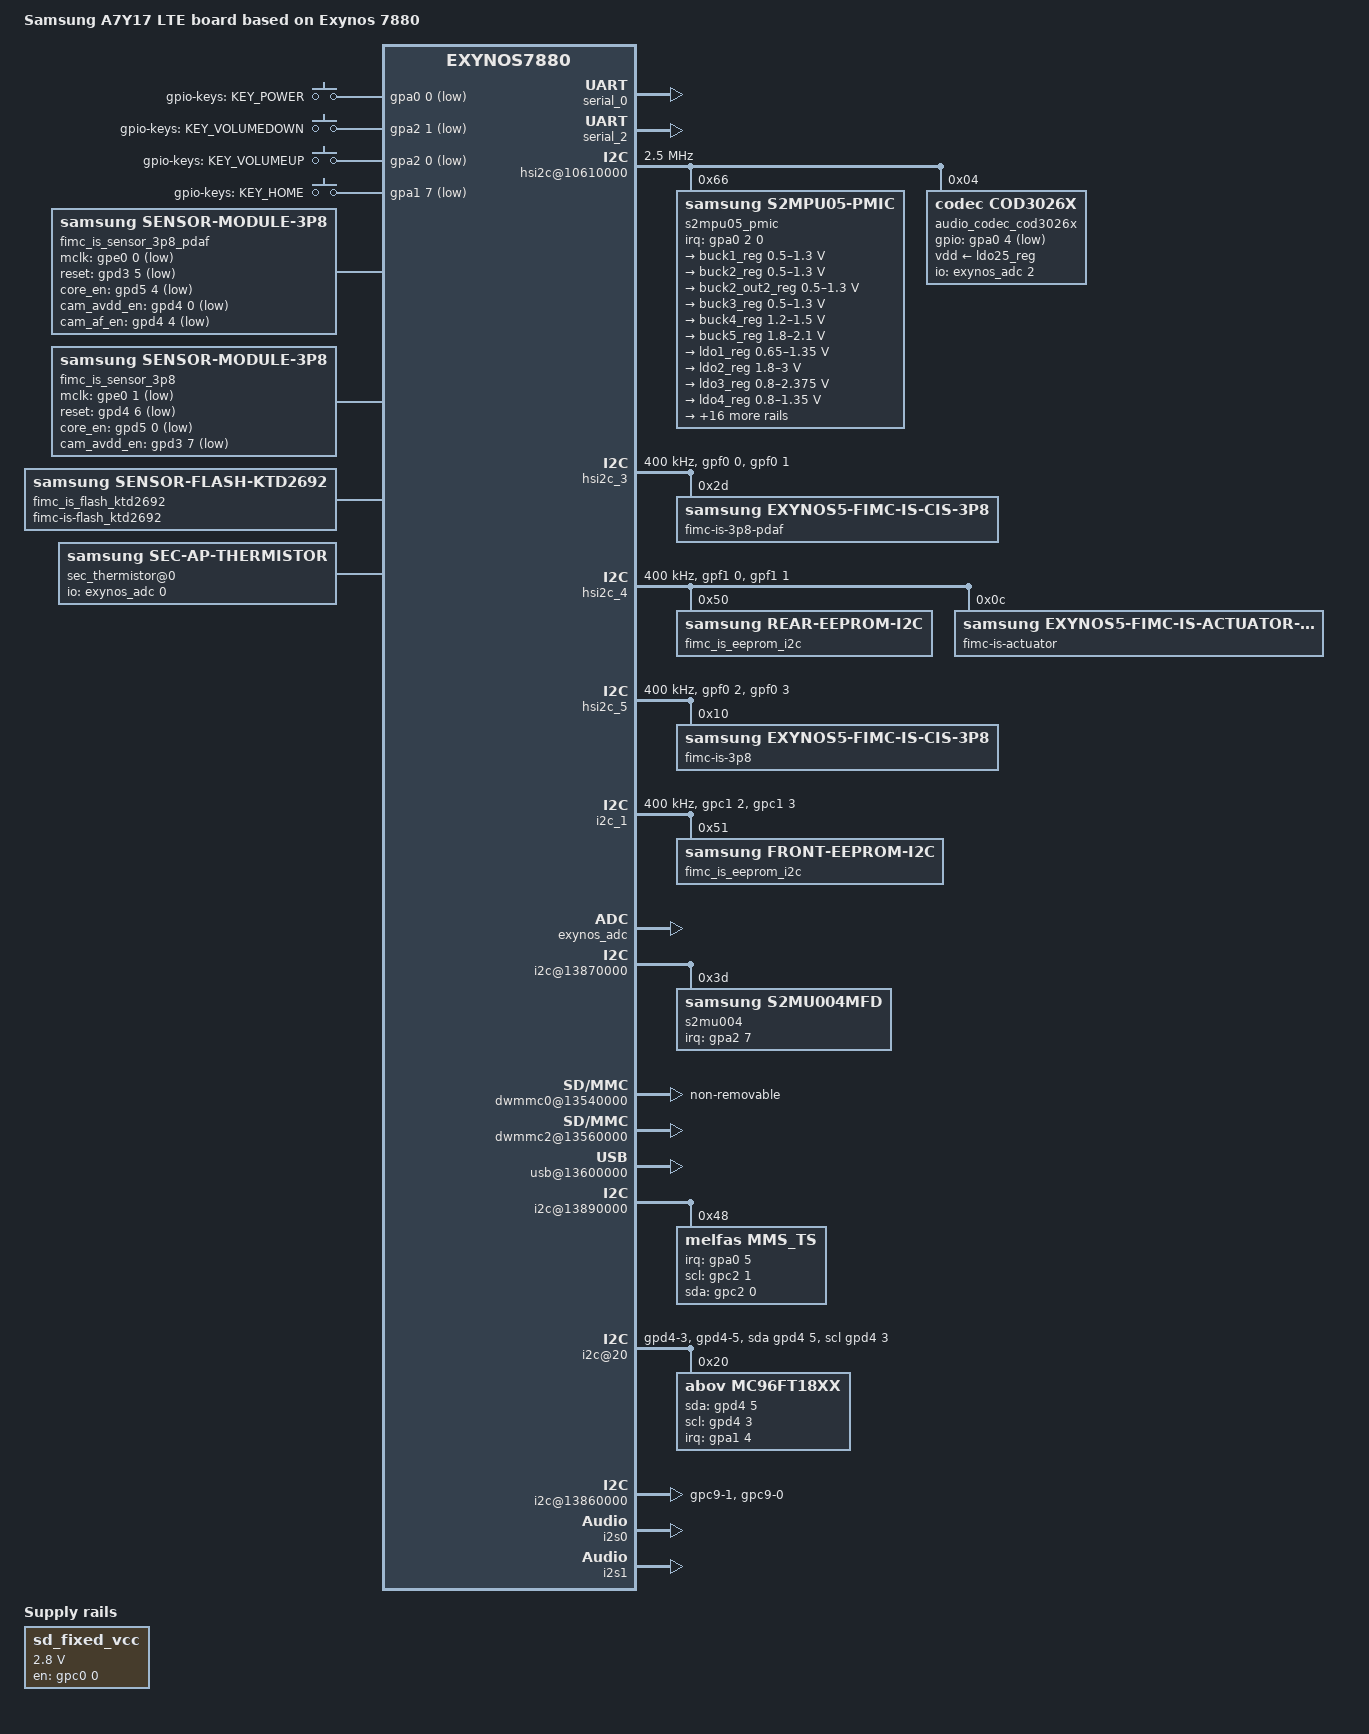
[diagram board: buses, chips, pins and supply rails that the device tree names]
/*
 * SAMSUNG Exynos7880 Universal board device tree source
 *
 * Copyright (c) 2015 Samsung Electronics Co., Ltd.
 *		http://www.samsung.com
 *
 * This program is free software; you can redistribute it and/or modify
 * it under the terms of the GNU General Public License version 2 as
 * published by the Free Software Foundation.
*/

#include "exynos7880-rmem.dtsi"
#include "exynos7880.dtsi"
#include "modem-ss325ap-pdata.dtsi"
#include <dt-bindings/camera/fimc_is.h>

/ {
	model = "Samsung A7Y17 LTE board based on Exynos 7880";
	compatible = "samsung,exynos7880", "samsung,universal7880";

	memory@40000000 {
		device_type = "memory";
		reg = <0x0 0x40000000 0x3E400000>;
	};

	memory@80000000 {
		device_type = "memory";
		reg = <0x0 0x80000000 0x80000000>;
	};

	chosen {
		bootargs = "console=ram ess_setup=0x46000000 clk_ignore_unused androidboot.hardware=samsungexynos7880 firmware_class.path=/vendor/firmware reserve-fimc=0 androidboot.debug_level=0x4948 androidboot.selinux=permissive";
		linux,initrd-start = <0x52000000>;
		linux,initrd-end = <0x521FFFFF>;
	};

	fixed-rate-clocks {
		oscclk {
			compatible = "samsung,exynos7880-oscclk";
			clock-frequency = <26000000>;
		};
	};

	serial_0: uart@13810000 {
		samsung,uart-logging;
		status = "okay";
	};

	serial_2: uart@13820000 {
		status = "okay";
	};

	gpio_keys {
		compatible = "gpio-keys";
		pinctrl-names = "default";
		pinctrl-0 = <&key_power &key_voldown &key_volup &key_home>;
		#address-cells = <1>;
		#size-cells = <0>;

		button@1 {
			label = "gpio-keys: KEY_POWER";
			interrupts = <0 0>;
			interrupt-parent = <&gpa0>;
			linux,code = <116>;
			gpios = <&gpa0 0 0xf>;
			gpio-key,wakeup = <1>;
		};
		button@2 {
			label = "gpio-keys: KEY_VOLUMEDOWN";
			interrupts = <1 0>;
			interrupt-parent = <&gpa2>;
			linux,code = <114>;
			gpios = <&gpa2 1 0xf>;
		};
		button@3 {
			label = "gpio-keys: KEY_VOLUMEUP";
			interrupts = <0 0>;
			interrupt-parent = <&gpa2>;
			linux,code = <115>;
			gpios = <&gpa2 0 0xf>;
		};
		button@4 {
			label = "gpio-keys: KEY_HOME";
			interrupts = <7 0 0>;
			interrupt-parent = <&gpa1>;
			linux,code = <172>;
			gpios = <&gpa1 7 0xf>;
			gpio-key,wakeup = <1>;
		};
	};
	
	firmware {
		android {
			compatible = "android,firmware";
			fstab {
				compatible = "android,fstab";
				system {
					compatible = "android,system";
					dev = "/dev/block/platform/13540000.dwmmc0/by-name/SYSTEM";
					type = "ext4";
					mnt_flags = "ro,errors=panic,noload";
					fsmgr_flags = "wait,verify";
				};
			};
		};
	};

	pinctrl@139B0000 {
		/* Warm reset information from AP */
		pm_wrsti: pm-wrsti {
			samsung,pins = "gpd1-0";
			samsung,pin-con-pdn = <3>;
		};
	};

	pinctrl@139F0000 {
		pmic_irq: pmic-irq {
			samsung,pins = "gpa0-2";
			samsung,pin-pud = <3>;
			samsung,pin-drv = <3>;
		};

		cod3026_irq: cod3026-irq {
			samsung,pins = "gpa0-4";
			samsung,pin-pud = <3>;
			samsung,pin-drv = <3>;
		};

		cfg_wlanhostwake: cfg-wlanhostwake {
			samsung,pins = "gpa2-2";
			samsung,pin-function = <1>;
			samsung,pin-pud = <3>;
		};
	};

	pinctrl@139E0000 {
		/* SPI_FP */
		spi1_bus_inactive: spi1-bus-inactive {
			samsung,pins = "gpc7-3", "gpc7-2", "gpc7-1", "gpc7-0";
			samsung,pin-function = <0>;
			samsung,pin-pud = <1>;
			samsung,pin-drv = <2>;
		};
		spi1_clk: spi1-clk {
			samsung,pins = "gpc7-0";
			samsung,pin-function = <2>;
			samsung,pin-pud = <1>;
			samsung,pin-drv = <2>;
		};
		spi1_cs: spi1-cs {
			samsung,pins = "gpc7-1";
			samsung,pin-function = <2>;
			samsung,pin-pud = <3>;
			samsung,pin-drv = <2>;
		};
		spi1_miso: spi1-miso {
			samsung,pins = "gpc7-2";
			samsung,pin-function = <2>;
			samsung,pin-pud = <0>;
			samsung,pin-drv = <2>;
		};
		spi1_mosi: spi1-mosi {
			samsung,pins = "gpc7-3";
			samsung,pin-function = <2>;
			samsung,pin-pud = <1>;
			samsung,pin-drv = <2>;
		};
	};

	but_zones: but_zones {
		#list-but-cells = <3>;
	};

	hsi2c@10610000 {
		status = "okay";
		samsung,hs-mode;
		clock-frequency = <2500000>;
		samsung,hsi2c-batcher;

		s2mpu05_pmic@66 {
			compatible = "samsung,s2mpu05-pmic";
			reg = <0x66>;
			ten-bit-address;
			interrupts = <2 0 0>;
			interrupt-parent = <&gpa0>;
			pinctrl-names = "default";
			pinctrl-0 = <&pmic_irq &pm_wrsti>;
			g3d_en = <1>; /* 1 : enable , 0 : disable */
			buck3en_pin = "etc1-3";
			buck3en_addr = "139B0080.pinctrl";
			/* RTC: wtsr/smpl */
			wtsr_en = <1>; /* enable */
			smpl_en = <1>; /* enable */
			wtsr_timer_val = <3>;   /* 1000ms */
			smpl_timer_val = <0>;   /* 100ms */
			check_jigon = <0>; /* do not check jigon */
			/* RTC: If it's first boot, reset rtc to 1/1/2017 12:00:00(Sun) */
			init_time,sec = <0>;
			init_time,min = <0>;
			init_time,hour = <12>;
			init_time,mday = <1>;
			init_time,mon = <0>;
			init_time,year = <117>;
			init_time,wday = <0>;

			regulators {
				buck1_reg: BUCK1 {
					regulator-name = "BUCK1";
					regulator-min-microvolt = <500000>;
					regulator-max-microvolt = <1300000>;
					regulator-always-on;
					regulator-boot-on;
					regulator-ramp-delay = <6000>;
					regulator-initial-mode = <1>;
					regulator-expected-consumer = <2>;
				};

				buck2_reg: BUCK2 {
					regulator-name = "BUCK2";
					regulator-min-microvolt = <500000>;
					regulator-max-microvolt = <1300000>;
					regulator-always-on;
					regulator-boot-on;
					regulator-ramp-delay = <6000>;
					regulator-initial-mode = <3>;
					regulator-expected-consumer = <4>;
				};

				buck2_out2_reg: BUCK2_OUT2 {
					regulator-name = "BUCK2_OUT2";
					regulator-min-microvolt = <500000>;
					regulator-max-microvolt = <1300000>;
					regulator-always-on;
					regulator-boot-on;
					regulator-ramp-delay = <6000>;
					regulator-initial-mode = <3>;
				};

				buck3_reg: BUCK3 {
					regulator-name = "vdd_g3d";
					regulator-min-microvolt = <500000>;
					regulator-max-microvolt = <1300000>;
					regulator-always-on;
					regulator-boot-on;
					regulator-ramp-delay = <12000>;
					regulator-initial-mode = <2>;		/* MIF_G3D */
				};

				buck4_reg: BUCK4 {
					regulator-name = "BUCK4";
					regulator-min-microvolt = <1200000>;
					regulator-max-microvolt = <1500000>;
					regulator-always-on;
					regulator-boot-on;
					regulator-ramp-delay = <12000>;
					regulator-initial-mode = <3>;
				};

				buck5_reg: BUCK5 {
					regulator-name = "BUCK5";
					regulator-min-microvolt = <1800000>;
					regulator-max-microvolt = <2100000>;
					regulator-always-on;
					regulator-boot-on;
					regulator-ramp-delay = <12000>;
					regulator-initial-mode = <3>;
				};

				ldo1_reg: LDO1 {
					regulator-name = "vdd_ldo1";
					regulator-min-microvolt = <650000>;
					regulator-max-microvolt = <1350000>;
					regulator-always-on;
					regulator-boot-on;
					regulator-ramp-delay = <12000>;
					regulator-initial-mode = <3>;
				};

				ldo2_reg: LDO2 {
					regulator-name = "vqmmc";
					regulator-min-microvolt = <1800000>;
					regulator-max-microvolt = <3000000>;
					regulator-ramp-delay = <12000>;
					regulator-initial-mode = <0>;
				};

				ldo3_reg: LDO3 {
					regulator-name = "vdd_ldo3";
					regulator-min-microvolt = <800000>;
					regulator-max-microvolt = <2375000>;
					regulator-boot-on;
					regulator-always-on;
					regulator-ramp-delay = <12000>;
					regulator-initial-mode = <3>;
				};

				ldo4_reg: LDO4 {
					regulator-name = "vdd_ldo4";
					regulator-min-microvolt = <800000>;
					regulator-max-microvolt = <1350000>;
					regulator-boot-on;
					regulator-always-on;
					regulator-ramp-delay = <12000>;
					regulator-initial-mode = <2>;
				};

				ldo5_reg: LDO5 {
					regulator-name = "vdd_ldo5";
					regulator-min-microvolt = <800000>;
					regulator-max-microvolt = <1350000>;
					regulator-boot-on;
					regulator-always-on;
					regulator-ramp-delay = <12000>;
					regulator-initial-mode = <3>;
				};

				ldo6_reg: LDO6 {
					regulator-name = "vdd_ldo6";
					regulator-min-microvolt = <800000>;
					regulator-max-microvolt = <1350000>;
					regulator-boot-on;
					regulator-always-on;
					regulator-ramp-delay = <12000>;
					regulator-initial-mode = <2>;
				};

				ldo7_reg: LDO7 {
					regulator-name = "VDDIO_1.8V_CAM";
					regulator-min-microvolt = <1800000>;
					regulator-max-microvolt = <1800000>;
					regulator-ramp-delay = <12000>;
					regulator-initial-mode = <1>;
				};

				ldo8_reg: LDO8 {
					regulator-name = "vdd_ldo8";
					regulator-min-microvolt = <1800000>;
					regulator-max-microvolt = <3375000>;
					regulator-boot-on;
					regulator-always-on;
					regulator-ramp-delay = <12000>;
					regulator-initial-mode = <1>;
				};

				ldo9_reg: LDO9 {
					regulator-name = "vdd_ldo9";
					regulator-min-microvolt = <650000>;
					regulator-max-microvolt = <1350000>;
					regulator-always-on;
					regulator-ramp-delay = <12000>;
					regulator-initial-mode = <3>;
				};

				ldo10_reg: LDO10 {
					regulator-name = "vdd_ldo10";
					regulator-min-microvolt = <650000>;
					regulator-max-microvolt = <1350000>;
					regulator-always-on;
					regulator-ramp-delay = <12000>;
					/* LDO10 mode 0 value means
					control to PWRRGTON_G3D signal */
					regulator-initial-mode = <0>;
				};

				ldo25_reg: LDO25 {
					regulator-name = "vdd_ldo25";
					regulator-min-microvolt = <800000>;
					regulator-max-microvolt = <2375000>;
					regulator-always-on;
					regulator-boot-on;
					regulator-ramp-delay = <12000>;
					regulator-initial-mode = <1>;
				};

				ldo26_reg: LDO26 {
					regulator-name = "vemmc";
					regulator-min-microvolt = <1800000>;
					regulator-max-microvolt = <3375000>;
					regulator-ramp-delay = <12000>;
					regulator-boot-on;
					regulator-initial-mode = <3>;
				};

				ldo27_reg: LDO27 {
					regulator-name = "vqemmc";
					regulator-min-microvolt = <800000>;
					regulator-max-microvolt = <2375000>;
					regulator-ramp-delay = <12000>;
					regulator-boot-on;
					regulator-initial-mode = <3>;
				};

				ldo29_reg: LDO29 {
					regulator-name = "LCD_3P0";
					regulator-min-microvolt = <3000000>;
					regulator-max-microvolt = <3000000>;
					regulator-ramp-delay = <12000>;
					regulator-initial-mode = <3>;
					regulator-boot-on;
				};

				ldo30_reg: LDO30 {
					regulator-name = "LCD_1P8";
					regulator-min-microvolt = <1800000>;
					regulator-max-microvolt = <1800000>;
					regulator-ramp-delay = <12000>;
					regulator-initial-mode = <3>;
					regulator-boot-on;
				};

				ldo31_reg: LDO31 {
					regulator-name = "vdd_ldo31";
					regulator-min-microvolt = <2800000>;
					regulator-max-microvolt = <2800000>;
					regulator-boot-on;
					regulator-always-on;
					regulator-ramp-delay = <12000>;
					regulator-initial-mode = <3>;
				};

				ldo32_reg: LDO32 {
					regulator-name = "vtouch_2.8v";
					regulator-min-microvolt = <2800000>;
					regulator-max-microvolt = <2800000>;
					regulator-boot-on;
				};

				ldo33_reg: LDO33 {
					regulator-name = "vdd_ldo33";
					regulator-min-microvolt = <3000000>;
					regulator-max-microvolt = <3000000>;
					regulator-always-on;
					regulator-ramp-delay = <12000>;
					regulator-initial-mode = <1>;
				};

				ldo34_reg: LDO34 {
					regulator-name = "vdd_ldo34";
					regulator-min-microvolt = <3300000>;
					regulator-max-microvolt = <3300000>;
				};

				ldo35_reg: LDO35 {
					regulator-name = "vtouch_3.3v";
					regulator-min-microvolt = <3300000>;
					regulator-max-microvolt = <3300000>;
				};
			};
		};

		audio_codec_cod3026x: cod3026x@04 {
			compatible = "codec,cod3026x";
			reg = <0x04>;
			ten-bit-address;
			vdd-supply = <&ldo25_reg>;
			pinctrl-names = "default";
			pinctrl-0 = <&cod3026_irq>;
			interrupt-parent = <&gpa0>;
			gpios = <&gpa0 4 0xf>;
			mic-bias1-voltage = <1>;
			mic-bias2-voltage = <1>;
			mic-bias-ldo-voltage = <3>;
			use-det-adc-mode;
			io-channels = <&exynos_adc 2>;
			io-channel-names = "adc-jack";
			#io-channel-cells = <1>;
			io-channel-ranges;
			water-threshold-min1 = <150>;
			water-threshold-min2 = <110>;
			but-zones-list = <&but_zones 226 0 217>, /* send/end */
				<&but_zones 582 218 298>, /* google */
				<&but_zones 115 299 502>, /* vol up */
				<&but_zones 114 503 1000>; /* vol down */
			mic-adc-range = <1361>;
		};
	};

	hsi2c_3: hsi2c@138A0000 {
		gpios = <&gpf0 0 0 &gpf0 1 0>;
		status = "okay";
		clock-frequency = <400000>;

		pinctrl-names = "default";
		pinctrl-0 = <&hs_i2c3_bus>;

		fimc-is-3p8-pdaf@5A {
			compatible = "samsung,exynos5-fimc-is-cis-3p8";
			reg = <0x2D>; /* 7bit-addr */
			id = <0>; /* matching sensor id */
			sensor_f_number = <2>; /* f number 1.9 */
			setfile = "setB"; /* setfile for pdaf  */

			use_pdaf;
		};
	};

	hsi2c_4: hsi2c@138B0000 {
		gpios = <&gpf1 0 0 &gpf1 1 0>;
		status = "okay";
		clock-frequency = <400000>;

		pinctrl-names = "default";
		pinctrl-0 = <&hs_i2c4_bus>;

		fimc_is_eeprom_i2c@A0 {
			compatible = "samsung,rear-eeprom-i2c";
			reg = <0x50>; /* 7bit-addr */
		};

		fimc-is-actuator@18 {
			compatible = "samsung,exynos5-fimc-is-actuator-ak7372";
			reg = <0x0C>; /* 7bit-addr */
			id = <0>; /* matching sensor id */
		};
	};

	hsi2c_5: hsi2c@138C0000 {
		gpios = <&gpf0 2 0 &gpf0 3 0>;
		status = "okay";
		clock-frequency = <400000>;

		pinctrl-names = "default";
		pinctrl-0 = <&hs_i2c5_bus>;

		fimc-is-3p8@20 {
			compatible = "samsung,exynos5-fimc-is-cis-3p8";
			reg = <0x10>; /* 7bit-addr */
			id = <1>; /* matching sensor id */
			sensor_f_number = <2>; /* f number 1.9 */
			setfile = "setA"; /* setfile for non-pdaf */
		};
	};

	i2c_1: i2c@13880000 {
		gpios = <&gpc1 2 0 &gpc1 3 0>;
		status = "okay";
		clock-frequency = <400000>;

		pinctrl-names = "default";
		pinctrl-0 = <&i2c1_bus>;

		fimc_is_eeprom_i2c@A2 {
			compatible = "samsung,front-eeprom-i2c";
			reg = <0x51>; /* 7bit-addr */
		};
	};

	pinctrl@139B0000 {
		if_pmic_rstb: if-pmic-rstb {
			samsung,pins = "gpd2-1";
			samsung,pin-function = <1>;
			samsung,pin-pud = <3>;
			samsung,pin-val = <1>;
			samsung,pin-con-pdn = <3>;
			samsung,pin-pud-pdn = <3>;
		};
		ssp_ap_int: ssp-ap-int {
			samsung,pins = "gpd1-5";
			samsung,pin-function = <1>;
			samsung,pin-pud = <3>;
			samsung,pin-drv = <3>;
		};
		ssp_boot0: ssp-boot0 {
			samsung,pins = "gpd2-0";
			samsung,pin-function = <1>;
			samsung,pin-pud = <1>;
			samsung,pin-drv = <3>;
		};
		ssp_rst: ssp-rst {
			samsung,pins = "gpf4-2";
			samsung,pin-function = <1>;
			samsung,pin-pud = <0>;
			samsung,pin-drv = <3>;
			samsung,pin-pud-pdn = <0>;
		};
	};

	exynos_adc: adc@10650000 {
		status = "okay";
	};

	i2c@13870000 {
		status = "okay";
		s2mu004@3d {
			compatible = "samsung,s2mu004mfd";
			reg = <0x3d>;
			pinctrl-names = "default";
			pinctrl-0 = <&if_irq &if_pmic_rstb>;
			s2mu004,irq-gpio = <&gpa2 7 0>;
			s2mu004,wakeup;

			leds {
				flash-gpio = <&gpc0 2 0>;
				torch-gpio = <&gpc0 3 0>;

				flash_current = <1000>;
				preflash_current = <175>;
				movie_current = <175>;
				torch_current = <75>;
				factory_current = <250>;

				status = "disabled";
				s2mu004-leds1 {
					ledname = "leds-sec1";
					id = <0>;
					timeout = <15>;
				};

				s2mu004-leds2 {
					ledname = "leds-sec2";
					id = <1>;
					timeout = <15>;
				};
			};

			muic {
				status = "okay";
				muic,uart_addr = "139c0000.pinctrl";
				muic,uart_rxd = "gpb1-0";
				muic,uart_txd = "gpb1-1";
			};
		};
	};

	pinctrl@139F0000 {
		hall_irq: hall-irq {
			samsung,pins = "gpa0-6";
			samsung,pin-function = <0xf>;
			samsung,pin-pud = <0>;
			samsung,pin-drv = <0>;
		};

		certify_hall_irq: certify-hall-irq {
			samsung,pins = "gpa1-2";
			samsung,pin-function = <0xf>;
			samsung,pin-pud = <0>;
			samsung,pin-drv = <0>;
		};

		cfg_irq: cfg-irq {
			samsung,pins = "gpa1-4";
			samsung,pin-function = <0xf>;
			samsung,pin-pud = <0>;
			samsung,pin-drv = <0>;
		};
		cfg_input: cfg-input {
			samsung,pins = "gpa1-4";
			samsung,pin-function = <0>;
			samsung,pin-pud = <0>;
			samsung,pin-drv = <0>;
		};

		key_power: key-power {
			samsung,pins = "gpa0-0";
			samsung,pin-function = <0xf>;
			samsung,pin-pud = <0>;
			samsung,pin-drv = <0>;
		};

		ssp_mcu_int1: ssp-mcu-int1 {
			samsung,pins = "gpa0-7";
			samsung,pin-function = <0>;
			samsung,pin-pud = <0>;
			samsung,pin-drv = <0>;
		};

		key_voldown: key-voldown {
			samsung,pins = "gpa2-1";
			samsung,pin-function = <0xf>;
			samsung,pin-pud = <0>;
			samsung,pin-drv = <0>;
		};

		key_volup: key-volup {
			samsung,pins = "gpa2-0";
			samsung,pin-function = <0xf>;
			samsung,pin-pud = <0>;
			samsung,pin-drv = <0>;
		};

		key_home: key-home {
			samsung,pins = "gpa1-7";
			samsung,pin-function = <0xf>;
			samsung,pin-pud = <0>;
			samsung,pin-drv = <0>;
		};

		ssp_mcu_int2: ssp-mcu-int2{
			samsung,pins = "gpa2-5";
			samsung,pin-function = <0>;
			samsung,pin-pud = <0>;
			samsung,pin-drv = <0>;
		};

		if_irq: if-irq {
			samsung,pins = "gpa2-7";
			samsung,pin-pud = <0>;
			samsung,pin-drv = <0>;
		};
	};

	hall {
		status = "okay";
		compatible = "hall";
		pinctrl-names = "default";
		pinctrl-0 = <&hall_irq>;
		hall,gpio_flip_cover = <&gpa0 6 0>;
	};

	certify_hall {
		status = "okay";
		compatible = "certify_hall";
		pinctrl-names = "default";
		pinctrl-0 = <&certify_hall_irq>;
		certify_hall,gpio_certify_cover = <&gpa1 2 0>;
	};

	dwmmc0@13540000 {
		status = "okay";
		num-slots = <1>;
		broken-card-detect;
		use-smu;
		fixed_voltage;
		supports-highspeed;
		clock-gate;
		mmc-ddr-1_8v;
		mmc-hs200-1_8v;
		mmc-hs400-1_8v;
		mmc-shutdown-poweroff;
		supports-8bit;
		supports-cmd23;
		supports-erase;
		enable-ulp-mode;
		supports-hs400-enhanced-strobe;
		pm-skip-mmc-resume-init;
		card-init-hwacg-ctrl;
		switch_transfer;
		fifo-depth = <0x40>;
		non-removable;
		desc-size = <4>;
		card-detect-delay = <200>;
		data-timeout = <200>;
		hto-timeout = <80>;
		clock-frequency = <800000000>;
		qos_int_level = <534000>;
		samsung,dw-mshc-ciu-div = <3>;
		samsung,dw-mshc-txdt-crc-timer-fastlimit = <0x34>;
		samsung,dw-mshc-txdt-crc-timer-initval = <0x38>;
		samsung,dw-mshc-ddr200-delay-line = <0x60>;
		samsung,dw-mshc-sdr-timing = <3 0 2 0>;
		samsung,dw-mshc-ddr-timing = <3 0 4 2>;
		samsung,dw-mshc-hs200-timing = <3 0 3 0>;
		samsung,dw-mshc-ddr200-timing = <1 0 2 0>;
		samsung,dw-mshc-ddr200-ulp-timing = <3 0 3 0>;

		num-ref-clks = <12>;
		ciu_clkin = <25 50 50 25 50 100 200 50 50 200 200 200>;

		/* Swapping clock drive strength */
                clk-drive-number = <6>;
                pinctrl-names = "default",
                        "fast-slew-rate-1x",
                        "fast-slew-rate-2x",
                        "fast-slew-rate-3x",
                        "fast-slew-rate-4x",
                        "fast-slew-rate-5x",
                        "fast-slew-rate-6x";
		pinctrl-0 = <&sd0_clk &sd0_cmd &sd0_rdqs &sd0_bus1 &sd0_bus4 &sd0_bus8 &sd0_rst>;
                pinctrl-1 = <&sd0_clk_fast_slew_rate_1x>;
                pinctrl-2 = <&sd0_clk_fast_slew_rate_2x>;
                pinctrl-3 = <&sd0_clk_fast_slew_rate_3x>;
                pinctrl-4 = <&sd0_clk_fast_slew_rate_4x>;
                pinctrl-5 = <&sd0_clk_fast_slew_rate_5x>;
                pinctrl-6 = <&sd0_clk_fast_slew_rate_6x>;

		slot@0 {
			reg = <0>;
			bus-width = <8>;
		};
	};

	dwmmc2@13560000 {
		status = "okay";
		num-slots = <1>;
		clock-gate;
		supports-highspeed;
		supports-4bit;
		supports-cmd23;
		supports-erase;
		sd-uhs-sdr50;
		sd-uhs-sdr104;
		card-detect-gpio;
		bypass-smu;
		bypass-for-allpass;
		use-fine-tuning;
		card-init-hwacg-ctrl;
		only_once_tune;
		skip-init-mmc-scan;
		switch_transfer;
		ignore-phase = <(1 << 7)>;
		fifo-depth = <0x40>;
		desc-size = <4>;
		card-detect-delay = <200>;
		data-timeout = <200>;
		hto-timeout = <80>;
		samsung,dw-mshc-ciu-div = <3>;
		clock-frequency = <800000000>;
		samsung,dw-mshc-sdr-timing = <3 0 2 0>;
		samsung,dw-mshc-ddr-timing = <3 0 2 1>;
		samsung,dw-mshc-sdr50-timing = <3 0 4 2>;
		samsung,dw-mshc-sdr104-timing = <3 0 3 0>;

		num-ref-clks = <9>;
		ciu_clkin = <25 50 50 25 50 100 200 50 50>;

		/* Swapping clock drive strength */
		clk-drive-number = <4>;
		pinctrl-names = "default",
			"fast-slew-rate-1x",
			"fast-slew-rate-2x",
			"fast-slew-rate-3x",
			"fast-slew-rate-4x";
		pinctrl-0 = <&sd2_clk &sd2_cmd &sd2_bus1 &sd2_bus4 &dwmmc2_cd_ext_irq>;
		pinctrl-1 = <&sd2_clk_fast_slew_rate_1x>;
		pinctrl-2 = <&sd2_clk_fast_slew_rate_2x>;
		pinctrl-3 = <&sd2_clk_fast_slew_rate_3x>;
		pinctrl-4 = <&sd2_clk_fast_slew_rate_4x>;

		card-detect = <&gpa3 3 0xf>;
		sec-sd-slot-type = <2>; /* Hybrid SD slot */

		slot@0 {
			reg = <0>;
			bus-width = <4>;
			disable-wp;
		};
	};

	sd_fixed_vcc: fixedregulator@0 {
		compatible = "regulator-fixed";
		regulator-name = "vmmc";
		gpio = <&gpc0 0 1>;
		regulator-min-microvolt = <2800000>;
		regulator-max-microvolt = <2800000>;
		enable-active-high;
		regulator-initial-mode = <0>;
	};

	decon_f@0x14830000 {
		dsi_mode = <0>;         /* 0: single dsi, 1: dual dsi */
		gpios = <&gpd2 2 0xf>; /* DISP_TE */
		/* gpio_det = <&gpa0 1 0x1>; */
		gpio_pcd = <&gpa1 5 0x1>;
		/* gpio_err = <&gpa2 4 0x0>; */

		te_eint {
			/* NWEINT_GPD2_PEND(GPD2_2), NWEINT_GPD2_MASK(GPD2_2) */
			reg = <0x0 0x139B0A24 0x4>, <0x0 0x139B0924 0x4>;
		};
	};

	dsim_0: dsim@0x14800000 {
		lcd_info = <&s6e3fa3>;
		decon_board = <&decon_board>;
	};

	dsim_1: dsim@0x14810000 {
		status = "disabled";
	};

	pinctrl@139F0000 {
		disp_pcd: disp_pcd {
			samsung,pins = "gpa1-5";
			samsung,pin-function = <0xf>;
		};
		disp_pcd_off: disp_pcd_off {
			samsung,pins = "gpa1-5";
			samsung,pin-function = <0>;
		};
	};

	decon_board: decon_board {
		compatible = "simple-bus";
		pinctrl-names = "off", "on";
		pinctrl-0 = <&disp_pcd_off>;
		pinctrl-1 = <&disp_pcd>;

		gpio_lcd_rst = <&gpd3 4 0x1>;

		dsim_set_panel_power_enable {
			type =
			"regulator,enable",	"LCD_3P0",
			"regulator,enable",	"LCD_1P8",
			"delay,usleep",	"10000 11000";
		};
		dsim_set_panel_power_disable {
			type =
			"gpio,low",	"gpio_lcd_rst",
			"regulator,disable",	"LCD_1P8",
			"regulator,disable",	"LCD_3P0";
		};
		dsim_reset_panel {
			type =
			"delay,usleep",	"1000 1100",
			"gpio,high",	"gpio_lcd_rst",
			"delay,usleep",	"5000 6000",
			"gpio,low",	"gpio_lcd_rst",
			"delay,usleep",	"5000 6000",
			"gpio,high",	"gpio_lcd_rst",
			"delay,usleep",	"10000 11000";
		};
		pinctrl_enable {
			type =
			"pinctrl",	"on";
		};
		pinctrl_disable {
			type =
			"pinctrl",	"off";
		};
	};

	decon_board_old: decon_board_old {
		compatible = "simple-bus";
		pinctrl-names = "off", "on";
		pinctrl-0 = <&disp_pcd_off>;
		pinctrl-1 = <&disp_pcd>;

		gpio_lcd_en = <&gpd1 6 0x1>;
		gpio_lcd_rst = <&gpd3 4 0x1>;

		dsim_set_panel_power_enable {
			type =
			"regulator,enable",	"LCD_3P0",
			"gpio,high",	"gpio_lcd_en",
			"delay,usleep",	"10000 11000";
		};
		dsim_set_panel_power_disable {
			type =
			"gpio,low",	"gpio_lcd_rst",
			"regulator,disable",	"LCD_3P0",
			"gpio,low",	"gpio_lcd_en";
		};
		dsim_reset_panel {
			type =
			"delay,usleep",	"1000 1100",
			"gpio,high",	"gpio_lcd_rst",
			"delay,usleep",	"5000 6000",
			"gpio,low",	"gpio_lcd_rst",
			"delay,usleep",	"5000 6000",
			"gpio,high",	"gpio_lcd_rst",
			"delay,usleep",	"10000 11000";
		};
		pinctrl_enable {
			type =
			"pinctrl",	"on";
		};
		pinctrl_disable {
			type =
			"pinctrl",	"off";
		};
	};

	s6e3fa3: s6e3fa3_fhd {
		mode = <2>;	/* 2: MIPI command mode */
		resolution = <1080 1920>;
		size = <71 126>;
		timing,refresh = <60>;
		timing,h-porch = <2 2 2>;
		timing,v-porch = <15 3 1>;
		timing,dsi-hs-clk = <997>;
		timing,pms = <3 230 1>;
		timing,dsi-escape-clk = <16>;
	};

	tmuctrl_0: tmuctrl_CPUCL0@10130000 {
		status = "okay";
		max_trigger_level = <8>;
		non_hw_trigger_levels = <7>;

		/* Throttling Level */
		trigger_levels_0 = <76>;
		trigger_levels_1 = <81>;
		trigger_levels_2 = <86>;
		trigger_levels_3 = <91>;
		trigger_levels_4 = <96>;
		trigger_levels_5 = <101>;
		trigger_levels_6 = <111>;
		trigger_levels_7 = <115>;

		trigger_enable_0 = <ENABLE>;
		trigger_enable_1 = <ENABLE>;
		trigger_enable_2 = <ENABLE>;
		trigger_enable_3 = <ENABLE>;
		trigger_enable_4 = <ENABLE>;
		trigger_enable_5 = <ENABLE>;
		trigger_enable_6 = <ENABLE>;
		trigger_enable_7 = <ENABLE>;

		trigger_type_0 = <THROTTLE_ACTIVE>;
		trigger_type_1 = <THROTTLE_ACTIVE>;
		trigger_type_2 = <THROTTLE_ACTIVE>;
		trigger_type_3 = <THROTTLE_ACTIVE>;
		trigger_type_4 = <THROTTLE_ACTIVE>;
		trigger_type_5 = <THROTTLE_ACTIVE>;
		trigger_type_6 = <THROTTLE_ACTIVE>;
		trigger_type_7 = <HW_TRIP>;

		freq_tab_count = <5>;

		freq_clip_max_0 = <1586000>;
		freq_clip_max_1 = <1242000>;
		freq_clip_max_2 = <1242000>;
		freq_clip_max_3 = <757000>;
		freq_clip_max_4 = <449000>;

		cooling_level_0 = <76>;
		cooling_level_1 = <81>;
		cooling_level_2 = <86>;
		cooling_level_3 = <91>;
		cooling_level_4 = <96>;
	};

	tmuctrl_1: tmuctrl_CPUCL1@10130000 {
		status = "okay";
		max_trigger_level = <8>;
		non_hw_trigger_levels = <7>;

		/* Throttling Level */
		trigger_levels_0 = <76>;
		trigger_levels_1 = <81>;
		trigger_levels_2 = <86>;
		trigger_levels_3 = <91>;
		trigger_levels_4 = <96>;
		trigger_levels_5 = <101>;
		trigger_levels_6 = <111>;
		trigger_levels_7 = <115>;

		trigger_enable_0 = <ENABLE>;
		trigger_enable_1 = <ENABLE>;
		trigger_enable_2 = <ENABLE>;
		trigger_enable_3 = <ENABLE>;
		trigger_enable_4 = <ENABLE>;
		trigger_enable_5 = <ENABLE>;
		trigger_enable_6 = <ENABLE>;
		trigger_enable_7 = <ENABLE>;

		trigger_type_0 = <THROTTLE_ACTIVE>;
		trigger_type_1 = <THROTTLE_ACTIVE>;
		trigger_type_2 = <THROTTLE_ACTIVE>;
		trigger_type_3 = <THROTTLE_ACTIVE>;
		trigger_type_4 = <THROTTLE_ACTIVE>;
		trigger_type_5 = <THROTTLE_ACTIVE>;
		trigger_type_6 = <THROTTLE_ACTIVE>;
		trigger_type_7 = <HW_TRIP>;

		freq_tab_count = <5>;

		freq_clip_max_0 = <1586000>;
		freq_clip_max_1 = <1242000>;
		freq_clip_max_2 = <1242000>;
		freq_clip_max_3 = <757000>;
		freq_clip_max_4 = <449000>;

		cooling_level_0 = <76>;
		cooling_level_1 = <81>;
		cooling_level_2 = <86>;
		cooling_level_3 = <91>;
		cooling_level_4 = <96>;
	};

	tmuctrl_2: tmuctrl_G3D@10130000 {
		status = "okay";
		max_trigger_level = <8>;
		non_hw_trigger_levels = <7>;

		/* Throttling Level */
		trigger_levels_0 = <76>;
		trigger_levels_1 = <81>;
		trigger_levels_2 = <86>;
		trigger_levels_3 = <91>;
		trigger_levels_4 = <96>;
		trigger_levels_5 = <101>;
		trigger_levels_6 = <111>;
		trigger_levels_7 = <115>;

		trigger_enable_0 = <ENABLE>;
		trigger_enable_1 = <ENABLE>;
		trigger_enable_2 = <ENABLE>;
		trigger_enable_3 = <ENABLE>;
		trigger_enable_4 = <ENABLE>;
		trigger_enable_5 = <ENABLE>;
		trigger_enable_6 = <ENABLE>;
		trigger_enable_7 = <ENABLE>;

		trigger_type_0 = <THROTTLE_ACTIVE>;
		trigger_type_1 = <THROTTLE_ACTIVE>;
		trigger_type_2 = <THROTTLE_ACTIVE>;
		trigger_type_3 = <THROTTLE_ACTIVE>;
		trigger_type_4 = <THROTTLE_ACTIVE>;
		trigger_type_5 = <THROTTLE_ACTIVE>;
		trigger_type_6 = <THROTTLE_ACTIVE>;
		trigger_type_7 = <HW_TRIP>;

		freq_tab_count = <6>;

		freq_clip_max_0 = <1246000>;
		freq_clip_max_1 = <1100000>;
		freq_clip_max_2 = <962000>;
		freq_clip_max_3 = <728000>;
		freq_clip_max_4 = <350000>;
		freq_clip_max_5 = <350000>;

		cooling_level_0 = <76>;
		cooling_level_1 = <81>;
		cooling_level_2 = <86>;
		cooling_level_3 = <91>;
		cooling_level_4 = <96>;
		cooling_level_5 = <101>;

		/* gpu cooling related table */
		gpu_idx_num = <6>;
	};

	usb@13600000 {
		vdd33-supply = <&ldo8_reg>;
		vdd10-supply = <&ldo1_reg>;
		dwc3-vbus-supply = <&ldo3_reg>;
		status = "okay";

		dwc3 {
			maximum-speed = "high-speed";
			dr_mode = "otg";
			is_not_vbus_pad;
		};
	};

	usbphy@135c0000 {
		status = "okay";
	};

	usb_notifier {
		compatible = "samsung,usb-notifier";
		udc = <&udc>;
	};

	pinctrl@139B0000 {
		fimc_is_flash_host: fimc-is-flash-host {
			samsung,pins = "gpd3-2";
			samsung,pin-function = <1>; /* 0: input, 1:output*/
			samsung,pin-pud = <0>; /* 0: NP, 1: PD, 2: reserved 3:PU */
			samsung,pin-drv = <0>;
		};
		fimc_is_flash_is: fimc-is-flash-is {
			samsung,pins = "gpd3-2";
			samsung,pin-function = <0>; /* 0: input, 1:output*/
			samsung,pin-pud = <1>; /* 0: NP, 1: PD, 2: reserved 3:PU */
			samsung,pin-drv = <0>;
		};
		spk_amp_i2c: spk-amp-i2c {
			samsung,pins = "gpc9-1", "gpc9-0";
			samsung,pin-function = <2>;
			samsung,pin-pud = <0>;
			samsung,pin-drv = <0>;
		};
	};

	pinctrl@139F0000 {
		attn_irq: attn-irq {
			samsung,pins = "gpa0-5";
			samsung,pin-function = <0xf>;
			samsung,pin-pud = <0>;
			samsung,pin-drv = <0>;
		};
		attn_input: attn-input {
			samsung,pins = "gpa0-5";
			samsung,pin-function = <0>;
			samsung,pin-pud = <0>;
			samsung,pin-drv = <0>;
		};
	};

	i2c@13890000 {
		samsung,i2c-sda-delay = <100>;
		samsung,i2c-max-bus-freq = <400000>;
		status = "okay";
		mms_ts@48 {
			compatible = "melfas,mms_ts";
			reg = <0x48>;
			pinctrl-names = "on_state", "off_state";
			pinctrl-0 = <&attn_irq>;
			pinctrl-1 = <&attn_input>;
			melfas,vdd_en = "vdd_ldo34";
			/*melfas,io_en = "tsp_io";*/
			melfas,irq-gpio = <&gpa0 5 0>;
			melfas,scl-gpio = <&gpc2 1 0>;
			melfas,sda-gpio = <&gpc2 0 0>;
			melfas,max_x = <1080>;
			melfas,max_y = <1920>;
			melfas,support_lpm = "true";
			melfas,fw_name = "tsp_melfas/mms449_a7y17.fw";
		};
	};

	pinctrl@139B0000 {
		/* touchkey i2c*/
		cfg_i2c: cfg-i2c {
			samsung,pins = "gpd4-3", "gpd4-5";
			samsung,pin-function = <3>;
			samsung,pin-pud = <0>;
			samsung,pin-drv = <0>;
		};
		cfg_gpio: cfg_gpio {
			samsung,pins = "gpd4-3", "gpd4-5";
			samsung,pin-function = <0>;
			samsung,pin-pud = <0>;
			samsung,pin-drv = <0>;
		};
	};

	i2c@20{
		compatible = "i2c-gpio";
		gpios = <&gpd4 5 0 /* sda */
				&gpd4 3 0 /* scl */
				>;
		status = "okay";
		pinctrl-names = "default","on_i2c","off_i2c";
		pinctrl-0 = <&cfg_i2c>;
		pinctrl-1 = <&cfg_i2c>;
		pinctrl-2 = <&cfg_gpio>;
		abov@20 {
			status = "okay";
			compatible = "abov,mc96ft18xx";
			pinctrl-names = "on_irq", "off_irq";
			pinctrl-0 = <&cfg_irq>;
			pinctrl-1 = <&cfg_input>;
			reg = <0x20>;
			interrupt-parent = <&gpa1>;
			abov,sda-gpio = <&gpd4 5 0>;
			abov,scl-gpio = <&gpd4 3 0>;
			abov,irq-gpio = <&gpa1 4 0>;
			abov,fw_path = "abov/a96t316_a7y17.fw";
			abov,boot-on-ldo = "true";
			abov,light_version = <161109 2>;	/* light_version light_table_num */
			abov,octa_id = <1 3>;	/* balck, gold */
			abov,light_reg = <0x05 0x05>;			
		};
	};

	i2c@13860000 {
		status = "okay";
		samsung,i2c-max-bus-freq = <400000>;
		samsung,i2c-bus-num = <20>;
		pinctrl-names = "default";
		pinctrl-0 = <&spk_amp_i2c>;
	};

	pinctrl@139C0000 {
		nfc_en: gpio-en {
			samsung,pins = "gpc2-2";
			samsung,pin-function = <0x1>;
			samsung,pin-pud = <0>;
			samsung,pin-drv = <0>;
			samsung,pin-con-pdn = <3>;
			samsung,pin-val = <1>;
		};
	};

	/* modem_interface */
	mif_pdata {
		reg = <0 0x10000 0x14>;
		/* Set NFC_PD to enable USIM */
		pinctrl-names = "default";

		/* To do: will be remove, for system revision */
		gpios = <&gpd2 4 0x0>,
		       <&gpd2 5 0x0>,
       		       <&gpd3 0 0x0>,
       		       <&gpd3 1 0x0>;
	};

	s1402x: s1402x@14880000 {
		pinctrl-names = "default", "idle", "bt", "bt-idle", "fm", "fm-idle";
		pinctrl-0 = <&i2s_pmic_bus
				&i2s_amp_bus>;
		pinctrl-1 = <&i2s_pmic_bus_idle
				&i2s_amp_bus_idle>;
		pinctrl-2 = <&i2s_bt_bus>;
		pinctrl-3 = <&i2s_bt_bus_idle>;
		pinctrl-4 = <&i2s_fm_bus>;
		pinctrl-5 = <&i2s_fm_bus_idle>;
		stand-alone-bt;	/*Enable if for BT AP Master Mode*/
		status = "okay";
	};

	i2s0: i2s@148A0000 {
		status = "okay";
	};

	i2s1: i2s@148B0000 {
		status = "okay";
	};

	audio_cp_dummy: cp_dummy {
		compatible = "samsung,cp_dummy";
		status = "okay";
	};

	audio_fm_dummy: fm_dummy {
		compatible = "samsung,fm_dummy";
		status = "okay";
	};

	audio_bt_dummy: bt_dummy {
		compatible = "samsung,bt_dummy";
		status = "okay";
	};

	audio_codec_dummy: dummy-codec {
		compatible = "samsung,dummy-codec";
		status = "okay";
	};

	sound {
		compatible = "samsung,universal7880-cod3026x";
		samsung,audio-cpu = <&i2s0 /* primary */
			&i2s0              /* secondary */
			&audio_cp_dummy
			&audio_bt_dummy
			&audio_fm_dummy
			&i2s1              /*AMP for AP */
			&audio_cp_dummy    /*AMP for CP */
			&eax
			&eax
			&eax
			&eax>;
		samsung,audio-codec = <&audio_codec_cod3026x
			&audio_codec_cod3026x
			&audio_codec_cod3026x
			&audio_codec_dummy
			&audio_codec_cod3026x
			&audio_codec_dummy
			&audio_codec_dummy
			&audio_codec_cod3026x
			&audio_codec_cod3026x
			&audio_codec_cod3026x
			&audio_codec_cod3026x>;

		samsung,auxdev = <&s1402x>;
		mic-bias-mode = <1 1 2 0>;
		stand-alone-fm;
		status = "okay";
	};

	fimc_is_sensor_3p8_pdaf: fimc-is_sensor_3p8_pdaf@5A {
		compatible = "samsung,sensor-module-3p8";

		pinctrl-names = "pin0", "pin1", "pin2";
		pinctrl-0 = <>;
		pinctrl-1 = <&fimc_is_mclk0_in>;
		pinctrl-2 = <&fimc_is_mclk0_fn>;

		use_pdaf;

		position = <0>;	/* rear:0. front:1 */
		id = <0>; /* sensor node id */
		mclk_ch = <0>;
		sensor_i2c_ch = <0>; /* i2c 0 */
		sensor_i2c_addr = <0x5A>; /* 8bit-addr */

		gpio_mclk = <&gpe0 0 0x1>;
		gpio_reset = <&gpd3 5 0x1>; /* sensor reset */
		gpio_core_en = <&gpd5 4 0x1>; /* CAM_1P0_EN */
		gpio_cam_avdd_en = <&gpd4 0 0x1>; /* CAM_2P8_A_EN */
		gpio_cam_af_en = <&gpd4 4 0x1>; /* CAM_AF_2P8_EN */
		status = "okay";

		af {
			product_name = <16>; /* ak7372 */
			i2c_addr = <0x18>; /* 8bit-addr */
			i2c_ch = <1>; /* i2c 2 */
		};

		flash {
			product_name = <5>; /* FLASH_KTD2692 */
			flash_first_gpio = <2>; /* DICO not use first, second gpio value */
			flash_second_gpio = <3>;
		};

		internal_vc {
			vc_list = <1 VC_TAIL_MODE_PDAF>; /* channel, type */
		};
	};

	fimc_is_sensor_3p8: fimc-is_sensor_3p8@20 {
		compatible = "samsung,sensor-module-3p8";

		pinctrl-names = "pin0", "pin1", "pin2";
		pinctrl-0 = <>;
		pinctrl-1 = <&fimc_is_mclk1_in>;
		pinctrl-2 = <&fimc_is_mclk1_fn>;

		position = <1>;	/* Rear:0. Front:1 */
		id = <1>; /* sensor node id */
		mclk_ch = <1>;
		sensor_i2c_ch = <1>;
		sensor_i2c_addr = <0x20>; /* 8bit-addr */

		gpio_mclk = <&gpe0 1 0x1>;
		gpio_reset = <&gpd4 6 0x1>; /* sensor reset */
		gpio_core_en = <&gpd5 0 0x1>; /* VTCAM_1P2_EN */
		gpio_cam_avdd_en = <&gpd3 7 0x1>; /* VTCAM_2P8_A_EN */

		status = "okay";
	};

	fimc_is_flash_ktd2692: fimc-is-flash_ktd2692@0 {
		compatible = "samsung,sensor-flash-ktd2692";
		id = <0>; /* matching sensor id */
		status = "okay";
	};

	leds_ktd2692 {
		compatible = "ktd2692";
		flash_control = <&gpd3 2 0x1>;
		flash_current = <1200>; /* (IMax=1.36A) (n/16)xIMax (1<=n<=16) */
		movie_current = <175>; /* (IMax=1.36A) (n/16)*IMax/3 (1<=n<=16) */
		factory_current = <175>; /* (IMax=1.36A) (n/16)xIMax/3 (1<=n<=16) */
		torch_current = <75>; /* (IMax=1.36A) (n/16)xIMax/3 (1<=n<=16) */
		torch_table_enable = <1>;
		torch_table = <1 2 2 3 3 4 4 4 5 5>;
		status = "okay";
		pinctrl-names ="default","host","is";
		pinctrl-0 = <&fimc_is_flash_is>;
		pinctrl-1 = <&fimc_is_flash_host>;
		pinctrl-2 = <&fimc_is_flash_is>;
	};

	#define SENSOR_SCENARIO_NORMAL		0
	#define SENSOR_SCENARIO_VISION		1
	#define SENSOR_SCENARIO_EXTERNAL	2
	#define SENSOR_SCENARIO_OIS_FACTORY	3
	#define SENSOR_SCENARIO_VIRTUAL		9
	#define FLITE_ID_NOTHING 100

	fimc_is_sensor0: fimc_is_sensor@14420000 {
		scenario = <SENSOR_SCENARIO_NORMAL>;	/* Normal, Vision, OIS etc */
		id = <0>;
		csi_ch = <0>;
		flite_ch = <0>;
		is_bns = <1>;
		status = "okay";
		use_ssvc1_internal;
	};

	fimc_is_sensor1: fimc_is_sensor@14460000 {
		scenario = <SENSOR_SCENARIO_NORMAL>;	/* Normal, Vision, OIS etc */
		id = <1>;
		csi_ch = <1>;
		flite_ch = <0>;
		is_bns = <1>;
		status = "okay";
	};

	fimc_is@14370000 {
		pinctrl-names = "default", "release";
		pinctrl-0 = <&fimc_is_mclk0_out &fimc_is_mclk1_out>;
		pinctrl-1 = <>;

		vender {
			rear_sensor_id = <30>;			/* SENSOR_NAME_S5K3P8SX */
			front_sensor_id = <30>;			/* SENSOR_NAME_S5K3P8SN */
			use_module_check;
			check_sensor_vendor;

			max_camera_num = <2>;
			camera_info0 {				// 0 : rear
				isp = <0>;			/* 0 : INT , 1 : EXT , 2 : SOC */
				cal_memory = <2>;		/* 0 : N , 1 : FROM , 2 : EEPROM , 3 : OTP  */
				read_version = <0>;		/* 0 : SYSFS , 1 : CAMON */
				core_voltage = <0>;		/* 0 : N , 1 : Y  */
				upgrade = <0>;			/* 0 : N , 1 : SYSFS , 2 : CAMON */
				companion = <0>;		/* 0 : N , 1 : Y  */
				ois = <0>;			/* 0 : N , 1 : Y  */
				valid = <1>;			/* 0 : INVALID , 1 : VALID   */
			};
			camera_info1 {				// 1 : front
				isp = <0>;			/* 0 : INT , 1 : EXT , 2 : SOC */
				cal_memory = <2>;		/* 0 : N , 1 : FROM , 2 : EEPROM , 3 : OTP  */
				read_version = <0>;		/* 0 : SYSFS , 1 : CAMON */
				core_voltage = <0>;		/* 0 : N , 1 : Y  */
				upgrade = <0>;			/* 0 : N , 1 : SYSFS , 2 : CAMON */
				companion = <0>;		/* 0 : N , 1 : Y  */
				ois = <0>;			/* 0 : N , 1 : Y  */
				valid = <1>;			/* 0 : INVALID , 1 : VALID   */
			};
		};

		fimc_is_dvfs {
			#define DVFS_INT_L0 534000
			#define DVFS_INT_L1 400000
			#define DVFS_INT_L2 267000
			#define DVFS_INT_L3 134000

			#define DVFS_CAM_L0 555000
			#define DVFS_CAM_L1 540000
			#define DVFS_CAM_L2 530000
			#define DVFS_CAM_L3 520000
			#define DVFS_CAM_L4 510000
			#define DVFS_CAM_L5 400000
			#define DVFS_CAM_L6 200000

			#define DVFS_MIF_L0 1794000
			#define DVFS_MIF_L1 1716000
			#define DVFS_MIF_L2 1539000
			#define DVFS_MIF_L3 1352000
			#define DVFS_MIF_L4 1144000
			#define DVFS_MIF_L5 1014000
			#define DVFS_MIF_L6 845000
			#define DVFS_MIF_L7 676000
			#define DVFS_MIF_L8 546000
			#define DVFS_MIF_L9 421000
			#define DVFS_MIF_L10 286000

			table0 {
				desc = "default Max version";

				default_int = <0>;
				default_cam = <DVFS_CAM_L0>;
				default_mif = <DVFS_MIF_L0>;
				default_i2c = <0>;

				front_preview_fhd_int = <0>;
				front_preview_fhd_cam = <DVFS_CAM_L5>;
				front_preview_fhd_mif = <DVFS_MIF_L6>;
				front_preview_fhd_i2c = <0>;

				front_preview_whd_int = <0>;
				front_preview_whd_cam = <DVFS_CAM_L5>;
				front_preview_whd_mif = <DVFS_MIF_L6>;
				front_preview_whd_i2c = <0>;

				front_preview_uhd_int = <0>;
				front_preview_uhd_cam = <DVFS_CAM_L2>;
				front_preview_uhd_mif = <DVFS_MIF_L3>;
				front_preview_uhd_i2c = <0>;

				front_capture_int = <0>;
				front_capture_cam = <DVFS_CAM_L2>;
				front_capture_mif = <DVFS_MIF_L2>;
				front_capture_i2c = <0>;

				front_video_fhd_int = <0>;
				front_video_fhd_cam = <DVFS_CAM_L5>;
				front_video_fhd_mif = <DVFS_MIF_L6>;
				front_video_fhd_i2c = <0>;

				front_video_whd_int = <0>;
				front_video_whd_cam = <DVFS_CAM_L5>;
				front_video_whd_mif = <DVFS_MIF_L3>;
				front_video_whd_i2c = <0>;

				front_video_uhd_int = <0>;
				front_video_uhd_cam = <DVFS_CAM_L2>;
				front_video_uhd_mif = <DVFS_MIF_L3>;
				front_video_uhd_i2c = <0>;

				front_video_fhd_capture_int = <0>;
				front_video_fhd_capture_cam = <DVFS_CAM_L2>;
				front_video_fhd_capture_mif = <DVFS_MIF_L6>;
				front_video_fhd_capture_i2c = <0>;

				front_video_whd_capture_int = <0>;
				front_video_whd_capture_cam = <DVFS_CAM_L2>;
				front_video_whd_capture_mif = <DVFS_MIF_L3>;
				front_video_whd_capture_i2c = <0>;

				front_video_uhd_capture_int = <0>;
				front_video_uhd_capture_cam = <DVFS_CAM_L2>;
				front_video_uhd_capture_mif = <DVFS_MIF_L3>;
				front_video_uhd_capture_i2c = <0>;

				front_vt1_int = <0>;
				front_vt1_cam = <DVFS_CAM_L5>;
				front_vt1_mif = <DVFS_MIF_L6>;
				front_vt1_i2c = <0>;

				front_vt2_int = <0>;
				front_vt2_cam = <DVFS_CAM_L5>;
				front_vt2_mif = <DVFS_MIF_L6>;
				front_vt2_i2c = <0>;

				front_companion_preview_int = <0>;
				front_companion_preview_cam = <DVFS_CAM_L5>;
				front_companion_preview_mif = <DVFS_MIF_L0>;
				front_companion_preview_i2c = <0>;

				front_companion_capture_int = <0>;
				front_companion_capture_cam = <DVFS_CAM_L2>;
				front_companion_capture_mif = <DVFS_MIF_L0>;
				front_companion_capture_i2c = <0>;

				front_companion_video_int = <0>;
				front_companion_video_cam = <DVFS_CAM_L5>;
				front_companion_video_mif = <DVFS_MIF_L0>;
				front_companion_video_i2c = <0>;

				front_companion_video_whd_int = <0>;
				front_companion_video_whd_cam = <DVFS_CAM_L5>;
				front_companion_video_whd_mif = <DVFS_MIF_L0>;
				front_companion_video_whd_i2c = <0>;

				front_companion_video_capture_int = <0>;
				front_companion_video_capture_cam = <DVFS_CAM_L2>;
				front_companion_video_capture_mif = <DVFS_MIF_L0>;
				front_companion_video_capture_i2c = <0>;

				front_companion_video_whd_capture_int = <0>;
				front_companion_video_whd_capture_cam = <DVFS_CAM_L2>;
				front_companion_video_whd_capture_mif = <DVFS_MIF_L0>;
				front_companion_video_whd_capture_i2c = <0>;

				rear_preview_fhd_int = <0>;
				rear_preview_fhd_cam = <DVFS_CAM_L5>;
				rear_preview_fhd_mif = <DVFS_MIF_L6>;
				rear_preview_fhd_i2c = <0>;

				rear_preview_whd_int = <0>;
				rear_preview_whd_cam = <DVFS_CAM_L5>;
				rear_preview_whd_mif = <DVFS_MIF_L6>;
				rear_preview_whd_i2c = <0>;

				rear_preview_uhd_int = <0>;
				rear_preview_uhd_cam = <DVFS_CAM_L2>;
				rear_preview_uhd_mif = <DVFS_MIF_L3>;
				rear_preview_uhd_i2c = <0>;

				rear_capture_int = <0>;
				rear_capture_cam = <DVFS_CAM_L2>;
				rear_capture_mif = <DVFS_MIF_L2>;
				rear_capture_i2c = <0>;

				rear_video_fhd_int = <0>;
				rear_video_fhd_cam = <DVFS_CAM_L5>;
				rear_video_fhd_mif = <DVFS_MIF_L6>;
				rear_video_fhd_i2c = <0>;

				rear_video_whd_int = <0>;
				rear_video_whd_cam = <DVFS_CAM_L5>;
				rear_video_whd_mif = <DVFS_MIF_L3>;
				rear_video_whd_i2c = <0>;

				rear_video_uhd_int = <0>;
				rear_video_uhd_cam = <DVFS_CAM_L2>;
				rear_video_uhd_mif = <DVFS_MIF_L3>;
				rear_video_uhd_i2c = <0>;

				rear_video_fhd_capture_int = <0>;
				rear_video_fhd_capture_cam = <DVFS_CAM_L2>;
				rear_video_fhd_capture_mif = <DVFS_MIF_L6>;
				rear_video_fhd_capture_i2c = <0>;

				rear_video_whd_capture_int = <0>;
				rear_video_whd_capture_cam = <DVFS_CAM_L2>;
				rear_video_whd_capture_mif = <DVFS_MIF_L3>;
				rear_video_whd_capture_i2c = <0>;

				rear_video_uhd_capture_int = <0>;
				rear_video_uhd_capture_cam = <DVFS_CAM_L2>;
				rear_video_uhd_capture_mif = <DVFS_MIF_L3>;
				rear_video_uhd_capture_i2c = <0>;

				dual_preview_int = <0>;
				dual_preview_cam = <DVFS_CAM_L4>;
				dual_preview_mif = <DVFS_MIF_L0>;
				dual_preview_i2c = <0>;

				dual_capture_int = <0>;
				dual_capture_cam = <DVFS_CAM_L1>;
				dual_capture_mif = <DVFS_MIF_L0>;
				dual_capture_i2c = <0>;

				dual_video_int = <0>;
				dual_video_cam = <DVFS_CAM_L4>;
				dual_video_mif = <DVFS_MIF_L0>;
				dual_video_i2c = <0>;

				dual_video_capture_int = <0>;
				dual_video_capture_cam = <DVFS_CAM_L1>;
				dual_video_capture_mif = <DVFS_MIF_L0>;
				dual_video_capture_i2c = <0>;

				preview_high_speed_fps_int = <0>;
				preview_high_speed_fps_cam = <DVFS_CAM_L2>;
				preview_high_speed_fps_mif = <DVFS_MIF_L0>;
				preview_high_speed_fps_i2c = <0>;

				video_high_speed_60fps_int = <0>;
				video_high_speed_60fps_cam = <DVFS_CAM_L5>;
				video_high_speed_60fps_mif = <DVFS_MIF_L5>;
				video_high_speed_60fps_i2c = <0>;

				video_high_speed_120fps_int = <0>;
				video_high_speed_120fps_cam = <DVFS_CAM_L5>;
				video_high_speed_120fps_mif = <DVFS_MIF_L5>;
				video_high_speed_120fps_i2c = <0>;

				video_high_speed_240fps_int = <0>;
				video_high_speed_240fps_cam = <DVFS_CAM_L0>;
				video_high_speed_240fps_mif = <DVFS_MIF_L0>;
				video_high_speed_240fps_i2c = <0>;

				max_int = <0>;
				max_cam = <DVFS_CAM_L0>;
				max_mif = <DVFS_MIF_L0>;
				max_i2c = <0>;
			};

			table1 {
				desc = "HAL3 version";

				default_int = <0>;
				default_cam = <DVFS_CAM_L5>;
				default_mif = <DVFS_MIF_L0>;
				default_i2c = <0>;

				front_preview_fhd_int = <0>;
				front_preview_fhd_cam = <DVFS_CAM_L5>;
				front_preview_fhd_mif = <DVFS_MIF_L2>;
				front_preview_fhd_i2c = <0>;

				front_preview_whd_int = <0>;
				front_preview_whd_cam = <DVFS_CAM_L5>;
				front_preview_whd_mif = <DVFS_MIF_L2>;
				front_preview_whd_i2c = <0>;

				front_preview_uhd_int = <0>;
				front_preview_uhd_cam = <DVFS_CAM_L2>;
				front_preview_uhd_mif = <DVFS_MIF_L2>;
				front_preview_uhd_i2c = <0>;

				front_capture_int = <0>;
				front_capture_cam = <DVFS_CAM_L2>;
				front_capture_mif = <DVFS_MIF_L0>;
				front_capture_i2c = <0>;

				front_video_fhd_int = <0>;
				front_video_fhd_cam = <DVFS_CAM_L5>;
				front_video_fhd_mif = <DVFS_MIF_L2>;
				front_video_fhd_i2c = <0>;

				front_video_whd_int = <0>;
				front_video_whd_cam = <DVFS_CAM_L5>;
				front_video_whd_mif = <DVFS_MIF_L2>;
				front_video_whd_i2c = <0>;

				front_video_uhd_int = <0>;
				front_video_uhd_cam = <DVFS_CAM_L2>;
				front_video_uhd_mif = <DVFS_MIF_L2>;
				front_video_uhd_i2c = <0>;

				front_video_fhd_capture_int = <0>;
				front_video_fhd_capture_cam = <DVFS_CAM_L2>;
				front_video_fhd_capture_mif = <DVFS_MIF_L2>;
				front_video_fhd_capture_i2c = <0>;

				front_video_whd_capture_int = <0>;
				front_video_whd_capture_cam = <DVFS_CAM_L2>;
				front_video_whd_capture_mif = <DVFS_MIF_L2>;
				front_video_whd_capture_i2c = <0>;

				front_video_uhd_capture_int = <0>;
				front_video_uhd_capture_cam = <DVFS_CAM_L2>;
				front_video_uhd_capture_mif = <DVFS_MIF_L2>;
				front_video_uhd_capture_i2c = <0>;

				front_vt1_int = <0>;
				front_vt1_cam = <DVFS_CAM_L5>;
				front_vt1_mif = <DVFS_MIF_L2>;
				front_vt1_i2c = <0>;

				front_vt2_int = <0>;
				front_vt2_cam = <DVFS_CAM_L5>;
				front_vt2_mif = <DVFS_MIF_L2>;
				front_vt2_i2c = <0>;

				front_companion_preview_int = <0>;
				front_companion_preview_cam = <DVFS_CAM_L5>;
				front_companion_preview_mif = <DVFS_MIF_L0>;
				front_companion_preview_i2c = <0>;

				front_companion_capture_int = <0>;
				front_companion_capture_cam = <DVFS_CAM_L2>;
				front_companion_capture_mif = <DVFS_MIF_L0>;
				front_companion_capture_i2c = <0>;

				front_companion_video_int = <0>;
				front_companion_video_cam = <DVFS_CAM_L5>;
				front_companion_video_mif = <DVFS_MIF_L0>;
				front_companion_video_i2c = <0>;

				front_companion_video_whd_int = <0>;
				front_companion_video_whd_cam = <DVFS_CAM_L5>;
				front_companion_video_whd_mif = <DVFS_MIF_L0>;
				front_companion_video_whd_i2c = <0>;

				front_companion_video_capture_int = <0>;
				front_companion_video_capture_cam = <DVFS_CAM_L2>;
				front_companion_video_capture_mif = <DVFS_MIF_L0>;
				front_companion_video_capture_i2c = <0>;

				front_companion_video_whd_capture_int = <0>;
				front_companion_video_whd_capture_cam = <DVFS_CAM_L2>;
				front_companion_video_whd_capture_mif = <DVFS_MIF_L0>;
				front_companion_video_whd_capture_i2c = <0>;

				rear_preview_fhd_int = <0>;
				rear_preview_fhd_cam = <DVFS_CAM_L5>;
				rear_preview_fhd_mif = <DVFS_MIF_L2>;
				rear_preview_fhd_i2c = <0>;

				rear_preview_whd_int = <0>;
				rear_preview_whd_cam = <DVFS_CAM_L5>;
				rear_preview_whd_mif = <DVFS_MIF_L2>;
				rear_preview_whd_i2c = <0>;

				rear_preview_uhd_int = <0>;
				rear_preview_uhd_cam = <DVFS_CAM_L2>;
				rear_preview_uhd_mif = <DVFS_MIF_L2>;
				rear_preview_uhd_i2c = <0>;

				rear_capture_int = <0>;
				rear_capture_cam = <DVFS_CAM_L2>;
				rear_capture_mif = <DVFS_MIF_L0>;
				rear_capture_i2c = <0>;

				rear_video_fhd_int = <0>;
				rear_video_fhd_cam = <DVFS_CAM_L5>;
				rear_video_fhd_mif = <DVFS_MIF_L2>;
				rear_video_fhd_i2c = <0>;

				rear_video_whd_int = <0>;
				rear_video_whd_cam = <DVFS_CAM_L5>;
				rear_video_whd_mif = <DVFS_MIF_L2>;
				rear_video_whd_i2c = <0>;

				rear_video_uhd_int = <0>;
				rear_video_uhd_cam = <DVFS_CAM_L2>;
				rear_video_uhd_mif = <DVFS_MIF_L2>;
				rear_video_uhd_i2c = <0>;

				rear_video_fhd_capture_int = <0>;
				rear_video_fhd_capture_cam = <DVFS_CAM_L2>;
				rear_video_fhd_capture_mif = <DVFS_MIF_L2>;
				rear_video_fhd_capture_i2c = <0>;

				rear_video_whd_capture_int = <0>;
				rear_video_whd_capture_cam = <DVFS_CAM_L2>;
				rear_video_whd_capture_mif = <DVFS_MIF_L2>;
				rear_video_whd_capture_i2c = <0>;

				rear_video_uhd_capture_int = <0>;
				rear_video_uhd_capture_cam = <DVFS_CAM_L2>;
				rear_video_uhd_capture_mif = <DVFS_MIF_L2>;
				rear_video_uhd_capture_i2c = <0>;

				dual_preview_int = <0>;
				dual_preview_cam = <DVFS_CAM_L4>;
				dual_preview_mif = <DVFS_MIF_L0>;
				dual_preview_i2c = <0>;

				dual_capture_int = <0>;
				dual_capture_cam = <DVFS_CAM_L1>;
				dual_capture_mif = <DVFS_MIF_L0>;
				dual_capture_i2c = <0>;

				dual_video_int = <0>;
				dual_video_cam = <DVFS_CAM_L4>;
				dual_video_mif = <DVFS_MIF_L0>;
				dual_video_i2c = <0>;

				dual_video_capture_int = <0>;
				dual_video_capture_cam = <DVFS_CAM_L1>;
				dual_video_capture_mif = <DVFS_MIF_L0>;
				dual_video_capture_i2c = <0>;

				preview_high_speed_fps_int = <0>;
				preview_high_speed_fps_cam = <DVFS_CAM_L2>;
				preview_high_speed_fps_mif = <DVFS_MIF_L0>;
				preview_high_speed_fps_i2c = <0>;

				video_high_speed_60fps_int = <0>;
				video_high_speed_60fps_cam = <DVFS_CAM_L5>;
				video_high_speed_60fps_mif = <DVFS_MIF_L2>;
				video_high_speed_60fps_i2c = <0>;

				video_high_speed_120fps_int = <0>;
				video_high_speed_120fps_cam = <DVFS_CAM_L5>;
				video_high_speed_120fps_mif = <DVFS_MIF_L2>;
				video_high_speed_120fps_i2c = <0>;

				video_high_speed_240fps_int = <0>;
				video_high_speed_240fps_cam = <DVFS_CAM_L1>;
				video_high_speed_240fps_mif = <DVFS_MIF_L2>;
				video_high_speed_240fps_i2c = <0>;

				max_int = <0>;
				max_cam = <DVFS_CAM_L0>;
				max_mif = <DVFS_MIF_L0>;
				max_i2c = <0>;
			};
		};
	};

	exynos_pm_dvs {
		compatible = "samsung,exynos-pm-dvs";
		vdd_buck4 {
			regulator_name = "BUCK4";
			suspend_volt = <1237500>;
			init_volt = <1350000>;
			volt_range_step = <12500>;
		};

		vdd_buck5 {
			regulator_name = "BUCK5";
			suspend_volt = <1850000>;
			init_volt = <2000000>;
			volt_range_step = <12500>;
		};
	};
	
	sec_thermistor@0 {
		compatible = "samsung,sec-ap-thermistor";
		status = "okay";

		adc_array = <297 334 392 465 541 666 753 878 932 984
			1068 1141 1167 1216 1289 1406 1511 1596 1688 1807
			1934 2027 2253 2476 2672 2870 2946 3036 3134 3203
			3260 3329 3454 3562>;
		temp_array = <900 850 800 750 700 650 600 570 550 530
			500 480 470 450 430 400 370 350 330 300
			270 250 200 150 100 50 30 0 (-30) (-50)
			(-70) (-100) (-150) (-200)>;
		io-channels = <&exynos_adc 0>;
		io-channel-names = "adc-ap-temp";
		io-channel-ranges;
	};

	argos {
		compatible = "samsung,argos";
		#address-cells = <1>;
		/*  The device number should be assigned for each device, e.g. "boot_device@1" and "boot_device@2".
		    Duplicated number is not allowed. Please refer the below example. */

		/* Table Format should be
		 * <Throughput(Mbps) ARM_min ARM_max KFC_min KFC_max MIF INT Task IRQ>
		 * ARM_min : Big Core's minimum frequency lock. 0 means not set,
		 * ARM_max : Big Core's maximum frequency lock. 0 means not set,
		 * KFC_min : Little Core's minimum frequency lock. 0 means not set,
		 * KFC_max : Little Core's maximum frequency lock. 0 means not set,
		 * MIF : MIF frequency lock. 0 means not set,
		 * INT : INT frequency lock. 0 means not set,
		 * Task : 1 - Set task affinity lock.
		 *        0 - Not set or unlock,
		 *              Task affinity should be predefined driver's code.
		 * IRQ : 1 - Set irq affinity lock.
		 *       0 - Not set or unlock,
		 *              Task affinity should be predefined driver's code.
		 */

		boot_device@1 {
			net_boost,label="IPC";
			net_boost,node="rmnet0 rmnet1 rmnet2 rmnet3 rmnet4 rmnet5 rmnet6 rmnet7 umts_dm0";
			net_boost,table_size = <3>;
			net_boost,table= <
					   20 0 0 800000 0 416000 100000 0 0
					   50 0 0 1000000 0 825000 100000 0 0
					  100 0 0 1400000 0 825000 100000 0 0>;
		};

		boot_device@2 {
			net_boost,label="USB";
			net_boost,node="rndis0";
			net_boost,table_size = <1>;
			net_boost,table= < 1 0 0 0 0 0 0 0 1 >;
		};

		boot_device@3 {
			net_boost,label="WIFI TX";
			net_boost,node="wlan0";
			net_boost,table_size = <3>;
			net_boost,table= <
				20  845000  0  845000  0 0 0 0 0
				60  1014000 0  1014000 0 0 0 0 0
				120 1352000 0  1352000 0 0 0 0 0
				>;
		};
		boot_device@4 {
			net_boost,label="WIFI RX";
			net_boost,node="wlan0";
			net_boost,table_size = <1>;
			net_boost,table= <
				100 1352000 0  1352000 0 0 0 0 0
				>;
		};
		boot_device@5 {
			net_boost,label="P2P";
			net_boost,node="p2p-wlan0-0";
			net_boost,table_size = <3>;
			net_boost,table= <
				30 1014000 0 1014000 0 0 0 0 0
				50 1248000 0 1248000 0 0 0 0 0
				90 1352000 0 1352000 0 1144000 0 0 0
				>;
		};

		boot_device@6 {
			net_boost,label="CLAT";
			net_boost,node="clat clat4 v4-rmnet0 v4-rmnet1 v4-rmnet2 v4-rmnet3 v4-rmnet4 v4-rmnet5 v4-rmnet6 v4-rmnet7";
			net_boost,table_size = <3>;
			net_boost,table= <120 1400000 0 0 0 825000 0 0 0
				130 1500000 0 0 0 825000 0 0 0
				150 1600000 0 0 0 825000 0 0 0>;
		};

		boot_device@7 {
			net_boost,label="EMMC";
			net_boost,node="";
			net_boost,sysnode="/sys/class/mmc_host/mmc0/trans_count";
			net_boost,table_size = <1>;
			net_boost,table= <64 0 0 1300000 0 825000 400000 0 0>;
		};
	};
};
